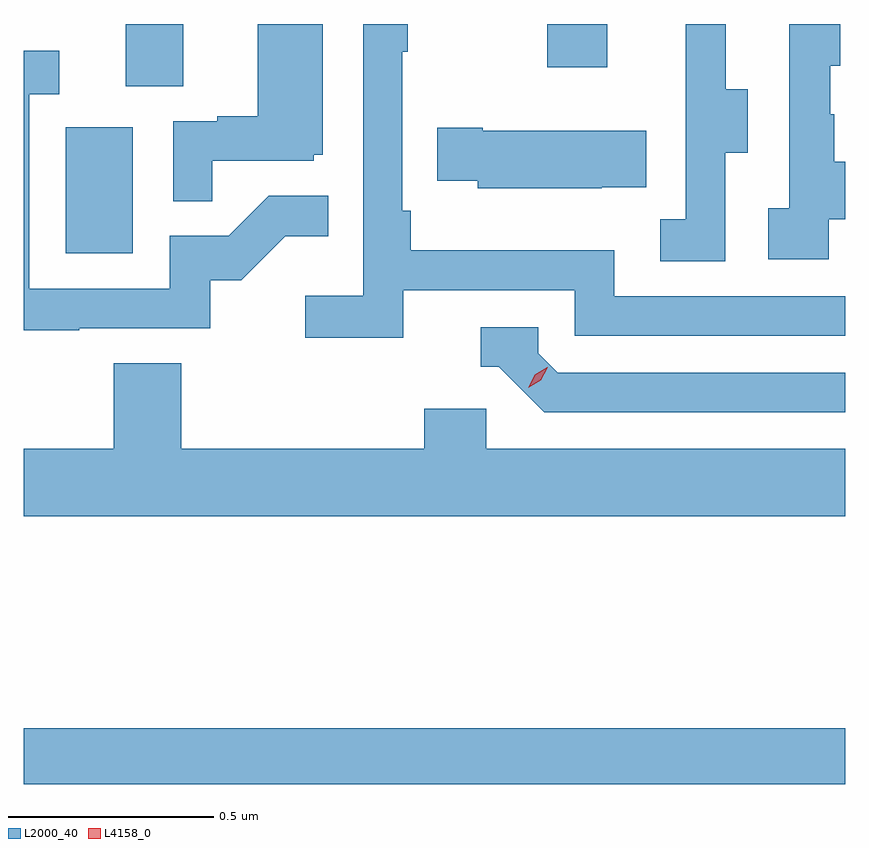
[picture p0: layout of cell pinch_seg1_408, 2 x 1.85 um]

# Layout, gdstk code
import gdstk
lib = gdstk.Library(unit=1e-6, precision=1e-09)
def R(c, l, rs):  # rectangles x0, y0, x1, y1
    for r in rs: c.add(gdstk.rectangle(r[:2], r[2:], *l))
def P(c, l, *ps):  # polygons
    for p in ps: c.add(gdstk.Polygon(p, *l))
L2000_40 = (2000, 40)
L4158_0 = (4158, 0)

pinch_seg1_408 = lib.new_cell('pinch_seg1_408')
R(pinch_seg1_408, L2000_40, [(994.61,524.44,996.61,524.576), (994.712,525.732,994.876,526.039), (994.859,526.138,994.999,526.29), (995.884,526.185,996.031,526.29)])
P(pinch_seg1_408, L2000_40, [(995.534,525.642),(995.952,525.642),(995.952,525.531),(996.61,525.531),(996.61,525.627),(996.048,525.627),(996.048,525.739),(995.552,525.739),(995.552,525.835),(995.532,525.835),(995.532,526.223),(995.545,526.223),(995.545,526.29),(995.436,526.29),(995.436,525.628),(995.295,525.628),(995.295,525.526),(995.534,525.526)],
  [(996.57,525.815),(996.61,525.815),(996.61,525.955),(996.583,525.955),(996.583,526.07),(996.573,526.07),(996.573,526.188),(996.598,526.188),(996.598,526.29),(996.474,526.29),(996.474,525.842),(996.423,525.842),(996.423,525.717),(996.57,525.717)],
  [(996.318,525.976),(996.373,525.976),(996.373,526.131),(996.319,526.131),(996.319,526.29),(996.221,526.29),(996.221,526.119),(996.222,526.119),(996.222,525.815),(996.159,525.815),(996.159,525.712),(996.318,525.712)],
  [(995.069,525.957),(995.316,525.957),(995.316,525.972),(995.338,525.972),(995.338,526.29),(995.18,526.29),(995.18,526.066),(995.081,526.066),(995.081,526.053),(994.974,526.053),(994.974,525.859),(995.069,525.859)],
  [(994.745,525.549),(995.064,525.549),(995.064,525.666),(995.14,525.666),(995.247,525.773),(995.351,525.773),(995.351,525.872),(995.207,525.872),(995.109,525.774),(994.965,525.774),(994.965,525.645),(994.623,525.645),(994.623,526.119),(994.696,526.119),(994.696,526.225),(994.61,526.225),(994.61,525.544),(994.745,525.544)],
  [(996.017,525.893),(996.125,525.893),(996.125,526.03),(995.728,526.03),(995.728,526.038),(995.617,526.038),(995.617,525.908),(995.715,525.908),(995.715,525.89),(996.017,525.89)],
  [(996.61,525.441),(995.91,525.441),(995.862,525.489),(995.862,525.552),(995.723,525.552),(995.723,525.456),(995.766,525.456),(995.877,525.345),(996.61,525.345)],
  [(996.61,525.256),(995.736,525.256),(995.736,525.354),(995.585,525.354),(995.585,525.256),(994.994,525.256),(994.994,525.464),(994.829,525.464),(994.829,525.256),(994.61,525.256),(994.61,525.092),(996.61,525.092)])
P(pinch_seg1_408, L4158_0, [(995.838,525.404),(995.838,525.404),(995.854,525.436),(995.885,525.455),(995.886,525.455),(995.886,525.455),(995.869,525.423),(995.838,525.404)])

lib.write_gds('pinch_seg1_408.gds')
